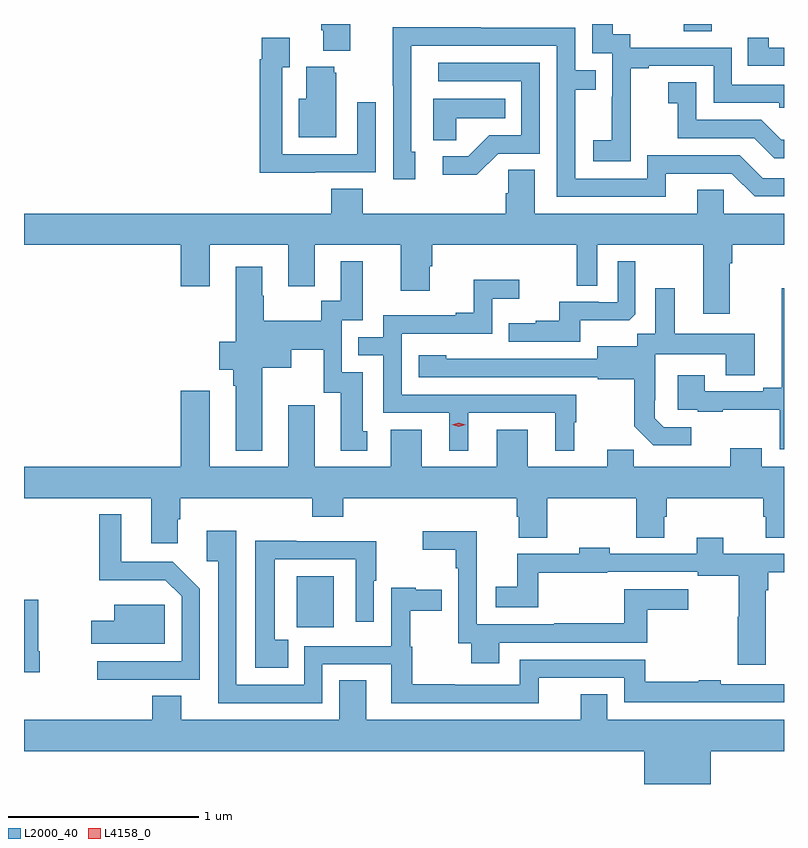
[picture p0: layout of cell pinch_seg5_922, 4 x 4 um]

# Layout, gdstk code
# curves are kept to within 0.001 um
import gdstk
lib = gdstk.Library(unit=1e-6, precision=1e-09)
def R(c, l, rs):  # rectangles x0, y0, x1, y1
    for r in rs: c.add(gdstk.rectangle(r[:2], r[2:], *l))
def P(c, l, *ps):  # polygons
    for p in ps: c.add(gdstk.Polygon(p, *l))
L2000_40 = (2000, 40)
L4158_0 = (4158, 0)

pinch_seg5_922 = lib.new_cell('pinch_seg5_922')
R(pinch_seg5_922, L2000_40, [(658.814,889.38,659.008,889.648), (660.851,892.516,660.999,892.555)])
P(pinch_seg5_922, L2000_40, [(659.095,892.555),(658.943,892.555),(658.943,892.522),(658.955,892.522),(658.955,892.415),(659.095,892.415)],
  [(660.573,892.039),(660.572,892.039),(660.572,892.323),(660.667,892.323),(660.667,892.335),(661.008,892.335),(661.008,892.14),(661.353,892.14),(661.353,892.113),(661.379,892.113),(661.379,892.236),(661.104,892.236),(661.104,892.431),(660.57,892.431),(660.57,892.5),(660.478,892.5),(660.478,892.555),(660.369,892.555),(660.369,892.401),(660.474,892.401),(660.474,892.172),(660.473,892.172),(660.473,891.943),(660.375,891.943),(660.375,891.833),(660.573,891.833)],
  [(660.757,891.768),(661.104,891.768),(661.224,891.648),(661.379,891.648),(661.379,891.744),(661.266,891.744),(661.146,891.864),(660.66,891.864),(660.66,891.741),(660.279,891.741),(660.279,892.21),(660.389,892.21),(660.389,892.311),(660.279,892.311),(660.279,892.536),(659.783,892.536),(659.783,892.538),(659.32,892.538),(659.32,892.231),(659.322,892.231),(659.322,891.738),(659.437,891.738),(659.437,891.882),(659.418,891.882),(659.418,892.44),(660.183,892.44),(660.183,891.645),(660.757,891.645)],
  [(658.913,891.774),(659.229,891.774),(659.229,892.144),(659.133,892.144),(659.133,891.87),(658.737,891.87),(658.737,892.327),(658.777,892.327),(658.777,892.483),(658.629,892.483),(658.629,892.37),(658.621,892.37),(658.621,891.773),(658.913,891.773)],
  [(661.379,892.431),(661.3,892.431),(661.3,892.483),(661.189,892.483),(661.189,892.335),(661.379,892.335)],
  [(659.874,891.873),(660.093,891.873),(660.093,892.35),(659.559,892.35),(659.559,892.254),(659.997,892.254),(659.997,891.969),(659.828,891.969),(659.717,891.858),(659.583,891.858),(659.583,891.761),(659.761,891.761)],
  [(659.023,892.299),(659.012,892.299),(659.012,892.33),(658.865,892.33),(658.865,892.162),(658.826,892.162),(658.826,891.959),(659.023,891.959)],
  [(661.379,891.946),(661.364,891.946),(661.26,892.05),(660.918,892.05),(660.918,892.249),(660.771,892.249),(660.771,892.139),(660.82,892.139),(660.82,891.954),(661.223,891.954),(661.328,891.849),(661.379,891.849)],
  [(659.655,892.058),(659.912,892.058),(659.912,892.162),(659.534,892.162),(659.534,891.943),(659.655,891.943)],
  [(661.093,891.296),(661.106,891.296),(661.106,891.392),(661.379,891.392),(661.379,891.556),(661.062,891.556),(661.062,891.683),(660.923,891.683),(660.923,891.556),(660.067,891.556),(660.067,891.788),(659.928,891.788),(659.928,891.665),(659.915,891.665),(659.915,891.556),(659.162,891.556),(659.162,891.689),(658.997,891.689),(658.997,891.556),(657.379,891.556),(657.379,891.392),(658.205,891.392),(658.205,891.174),(658.357,891.174),(658.357,891.392),(658.769,891.392),(658.769,891.174),(658.909,891.174),(658.909,891.392),(659.363,891.392),(659.363,891.15),(659.515,891.15),(659.515,891.279),(659.528,891.279),(659.528,891.392),(660.288,891.392),(660.288,891.178),(660.396,891.178),(660.396,891.392),(660.953,891.392),(660.953,891.03),(661.093,891.03)],
  [(660.307,890.996),(660.565,890.996),(660.597,891.027),(660.597,891.307),(660.504,891.307),(660.504,891.09),(660.404,891.09),(660.404,891.093),(660.197,891.093),(660.197,890.992),(660.073,890.992),(660.073,890.98),(659.929,890.98),(659.929,890.883),(660.307,890.883)],
  [(658.633,890.747),(658.786,890.747),(658.786,890.84),(658.956,890.84),(658.956,890.613),(659.045,890.613),(659.045,890.31),(659.185,890.31),(659.185,890.412),(659.161,890.412),(659.161,890.721),(659.052,890.721),(659.052,890.997),(659.161,890.997),(659.161,891.307),(659.045,891.307),(659.045,891.098),(658.944,891.098),(658.944,890.992),(658.641,890.992),(658.641,891.126),(658.633,891.126),(658.633,891.277),(658.493,891.277),(658.493,890.882),(658.406,890.882),(658.406,890.735),(658.481,890.735),(658.481,890.651),(658.493,890.651),(658.493,890.309),(658.633,890.309)],
  [(659.716,890.508),(660.176,890.508),(660.176,890.309),(660.274,890.309),(660.274,890.46),(660.286,890.46),(660.286,890.604),(659.367,890.604),(659.367,890.925),(659.844,890.925),(659.844,891.11),(659.986,891.11),(659.986,891.209),(659.746,891.209),(659.746,891.034),(659.651,891.034),(659.651,891.021),(659.271,891.021),(659.271,890.907),(659.137,890.907),(659.137,890.811),(659.271,890.811),(659.271,890.508),(659.618,890.508),(659.618,890.309),(659.716,890.309)],
  [(660.892,890.433),(660.747,890.433),(660.7,890.48),(660.7,890.575),(660.702,890.575),(660.702,890.816),(661.073,890.816),(661.073,890.707),(661.225,890.707),(661.225,890.926),(660.805,890.926),(660.805,891.163),(660.701,891.163),(660.701,890.924),(660.606,890.924),(660.606,890.86),(660.395,890.86),(660.395,890.793),(659.601,890.794),(659.601,890.812),(659.457,890.812),(659.457,890.697),(660.399,890.697),(660.399,890.685),(660.591,890.685),(660.591,890.439),(660.691,890.339),(660.892,890.339)],
  [(661.379,891.163),(661.367,891.163),(661.367,890.641),(661.271,890.641),(661.271,890.622),(660.961,890.622),(660.961,890.707),(660.821,890.707),(660.821,890.526),(660.925,890.526),(660.925,890.514),(661.057,890.514),(661.057,890.525),(661.356,890.525),(661.356,890.316),(661.379,890.316)],
  [(658.189,889.949),(658.202,889.949),(658.202,890.06),(658.895,890.06),(658.895,889.961),(659.06,889.961),(659.06,890.06),(659.972,890.06),(659.972,889.962),(659.984,889.962),(659.984,889.852),(660.132,889.852),(660.132,890.06),(660.601,890.06),(660.601,889.852),(660.748,889.852),(660.748,889.962),(660.761,889.962),(660.761,890.06),(661.271,890.06),(661.271,889.962),(661.283,889.962),(661.283,889.852),(661.379,889.852),(661.379,890.224),(661.261,890.224),(661.261,890.323),(661.097,890.323),(661.097,890.224),(660.587,890.224),(660.587,890.315),(660.449,890.315),(660.449,890.224),(660.031,890.224),(660.031,890.419),(659.867,890.419),(659.867,890.224),(659.473,890.224),(659.473,890.419),(659.309,890.419),(659.309,890.224),(658.909,890.224),(658.909,890.548),(658.769,890.548),(658.769,890.224),(658.357,890.224),(658.357,890.626),(658.205,890.626),(658.205,890.224),(657.379,890.224),(657.379,890.06),(658.049,890.06),(658.049,889.821),(658.189,889.821)],
  [(658.305,889.582),(658.162,889.725),(657.892,889.725),(657.892,889.975),(657.775,889.975),(657.775,889.628),(658.123,889.628),(658.209,889.542),(658.209,889.2),(657.765,889.2),(657.765,889.104),(658.305,889.104)],
  [(658.95,889.185),(659.312,889.185),(659.312,888.981),(660.087,888.981),(660.087,889.113),(660.537,889.113),(660.537,888.984),(661.379,888.984),(661.379,889.08),(661.046,889.08),(661.046,889.1),(660.93,889.1),(660.93,889.093),(660.649,889.093),(660.649,889.209),(659.988,889.209),(659.988,889.077),(659.645,889.077),(659.645,889.08),(659.422,889.08),(659.422,889.278),(659.412,889.278),(659.412,889.467),(659.578,889.467),(659.578,889.577),(659.441,889.577),(659.441,889.588),(659.313,889.588),(659.313,889.281),(658.854,889.281),(658.854,889.077),(658.497,889.077),(658.497,889.888),(658.341,889.888),(658.341,889.727),(658.401,889.727),(658.401,888.981),(658.95,888.981)],
  [(659.881,889.299),(660.658,889.299),(660.658,889.473),(660.874,889.473),(660.874,889.581),(660.537,889.581),(660.537,889.4),(660.169,889.4),(660.169,889.395),(659.762,889.395),(659.762,889.885),(659.478,889.885),(659.478,889.787),(659.652,889.787),(659.652,889.691),(659.664,889.691),(659.664,889.297),(659.734,889.297),(659.734,889.19),(659.881,889.19)],
  [(661.282,889.574),(661.295,889.574),(661.295,889.67),(661.379,889.67),(661.379,889.767),(661.06,889.767),(661.06,889.852),(660.92,889.852),(660.92,889.767),(660.462,889.767),(660.462,889.798),(660.302,889.798),(660.302,889.767),(659.975,889.767),(659.975,889.594),(659.862,889.594),(659.862,889.484),(660.085,889.484),(660.085,889.666),(660.45,889.666),(660.45,889.671),(660.924,889.671),(660.924,889.651),(661.142,889.651),(661.142,889.434),(661.135,889.434),(661.135,889.182),(661.282,889.182)],
  [(658.769,889.313),(658.699,889.313),(658.699,889.737),(659.124,889.737),(659.124,889.41),(659.22,889.41),(659.22,889.626),(659.233,889.626),(659.233,889.833),(658.811,889.833),(658.811,889.836),(658.595,889.836),(658.595,889.166),(658.769,889.166)],
  [(657.462,889.255),(657.454,889.255),(657.454,889.524),(657.379,889.524),(657.379,889.143),(657.462,889.143)],
  [(658.119,889.498),(657.854,889.498),(657.854,889.414),(657.732,889.414),(657.732,889.292),(658.119,889.292)],
  [(660.994,888.728),(661.379,888.728),(661.379,888.892),(660.448,888.892),(660.448,889.028),(660.308,889.028),(660.308,888.892),(659.179,888.892),(659.179,889.1),(659.039,889.1),(659.039,888.892),(658.207,888.892),(658.207,889.019),(658.055,889.019),(658.055,888.892),(657.379,888.892),(657.379,888.728),(660.644,888.728),(660.644,888.555),(660.994,888.555)])
P(pinch_seg5_922, L4158_0, [(659.667,890.436),(659.631,890.446),(659.631,890.446),(659.631,890.447),(659.667,890.456),(659.703,890.447),(659.703,890.446),(659.703,890.446)])

lib.write_gds('pinch_seg5_922.gds')
